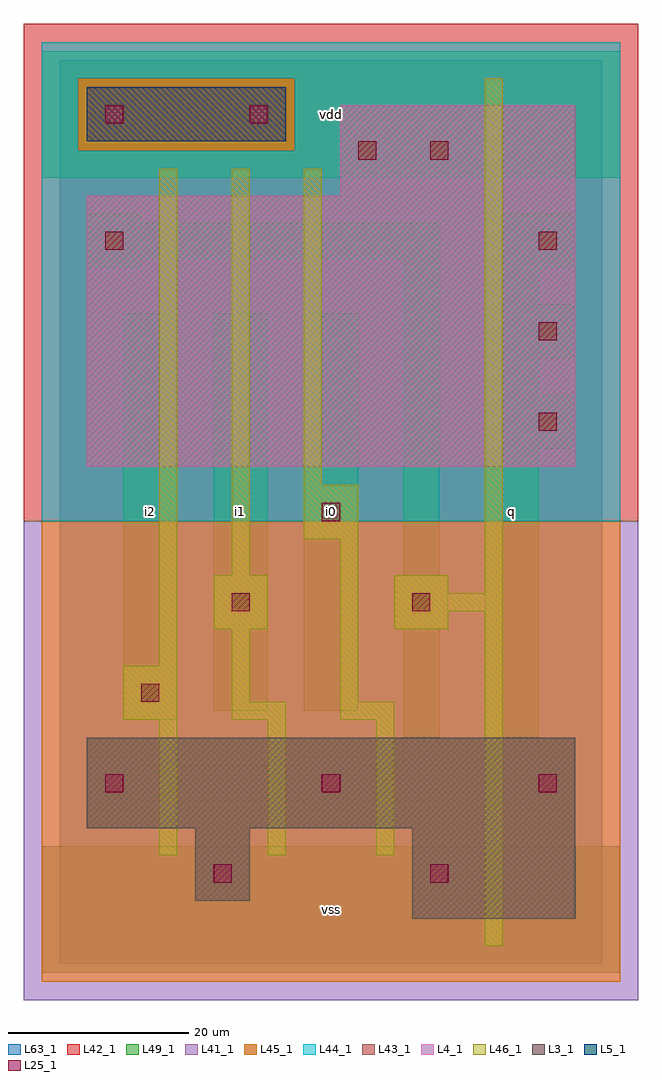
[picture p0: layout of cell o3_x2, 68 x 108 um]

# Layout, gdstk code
import gdstk
lib = gdstk.Library(unit=1e-6, precision=1e-09)
def R(c, l, rs):  # rectangles x0, y0, x1, y1
    for r in rs: c.add(gdstk.rectangle(r[:2], r[2:], *l))
def A(c, l, x, y, w, h, nx, ny, dx, dy):  # array of equal rectangles
    R(c, l, [(x+i*dx, y+j*dy, x+i*dx+w, y+j*dy+h) for i in range(nx) for j in range(ny)])
L3_1 = (3, 1)
L4_1 = (4, 1)
L5_1 = (5, 1)
L25_1 = (25, 1)
L41_1 = (41, 1)
L42_1 = (42, 1)
L43_1 = (43, 1)
L44_1 = (44, 1)
L45_1 = (45, 1)
L46_1 = (46, 1)
L49_1 = (49, 1)
L63_1 = (63, 1)

o3_x2 = lib.new_cell('o3_x2')
R(o3_x2, L3_1, [(39,5,57,15), (15,7,21,15), (3,15,57,25)])
R(o3_x2, L4_1, [(3,55,57,85), (31,85,57,95)])
R(o3_x2, L5_1, [(3,91,25,97)])
A(o3_x2, L25_1, 5, 19, 2, 2, 3, 1, 24, 0)
A(o3_x2, L25_1, 53, 59, 2, 2, 1, 3, 0, 10)
R(o3_x2, L25_1, [(17,9,19,11), (41,9,43,11), (9,29,11,31), (19,39,21,41), (39,39,41,41), (29,49,31,51), (5,79,7,81), (33,89,35,91), (41,89,43,91), (5,93,7,95), (21,93,23,95)])
R(o3_x2, L41_1, [(-4,-4,64,49)])
R(o3_x2, L42_1, [(-4,49,64,104)])
R(o3_x2, L43_1, [(39,5,57,15), (15,7,21,15), (3,15,57,25), (3,55,57,85), (31,85,57,95), (3,91,25,97)])
R(o3_x2, L44_1, [(-2,49,62,90), (-2,90,2,98), (26,90,62,98), (-2,98,62,102)])
R(o3_x2, L45_1, [(-2,-2,62,49), (2,90,26,98)])
A(o3_x2, L46_1, 11, 12, 2, 15, 3, 1, 12, 0)
R(o3_x2, L46_1, [(47,2,49,39), (7,27,13,33), (19,27,25,29), (31,27,37,29), (19,29,21,37), (31,29,33,47), (11,33,13,88), (17,37,23,43), (37,37,43,39), (37,39,49,41), (37,41,43,43), (47,41,49,98), (19,43,21,88), (27,47,33,53), (27,53,29,88)])
A(o3_x2, L49_1, 47, 57, 10, 6, 1, 3, 0, 10)
R(o3_x2, L49_1, [(-2,-1,62,13), (3,17,9,18), (27,17,33,18), (47,17,57,23), (3,18,42,22), (3,22,9,23), (27,22,33,23), (38,22,42,37), (47,23,53,57), (7,27,13,72), (17,28,23,72), (27,28,33,72), (37,37,43,43), (38,43,42,78), (47,63,53,67), (47,73,53,77), (3,77,9,78), (3,78,42,82), (3,82,9,83), (-2,87,62,101)])
R(o3_x2, L63_1, [(0,0,60,100)])
o3_x2.add(gdstk.Label('i2', (10,50), layer=49, texttype=1))
o3_x2.add(gdstk.Label('i2', (10,50), layer=49, texttype=1))
o3_x2.add(gdstk.Label('i1', (20,50), layer=49, texttype=1))
o3_x2.add(gdstk.Label('i1', (20,50), layer=49, texttype=1))
o3_x2.add(gdstk.Label('vss', (30,6), layer=49, texttype=1))
o3_x2.add(gdstk.Label('vss', (30,6), layer=49, texttype=1))
o3_x2.add(gdstk.Label('i0', (30,50), layer=49, texttype=1))
o3_x2.add(gdstk.Label('i0', (30,50), layer=49, texttype=1))
o3_x2.add(gdstk.Label('vdd', (30,94), layer=49, texttype=1))
o3_x2.add(gdstk.Label('vdd', (30,94), layer=49, texttype=1))
o3_x2.add(gdstk.Label('q', (50,50), layer=49, texttype=1))
o3_x2.add(gdstk.Label('q', (50,50), layer=49, texttype=1))

lib.write_gds('o3_x2.gds')
